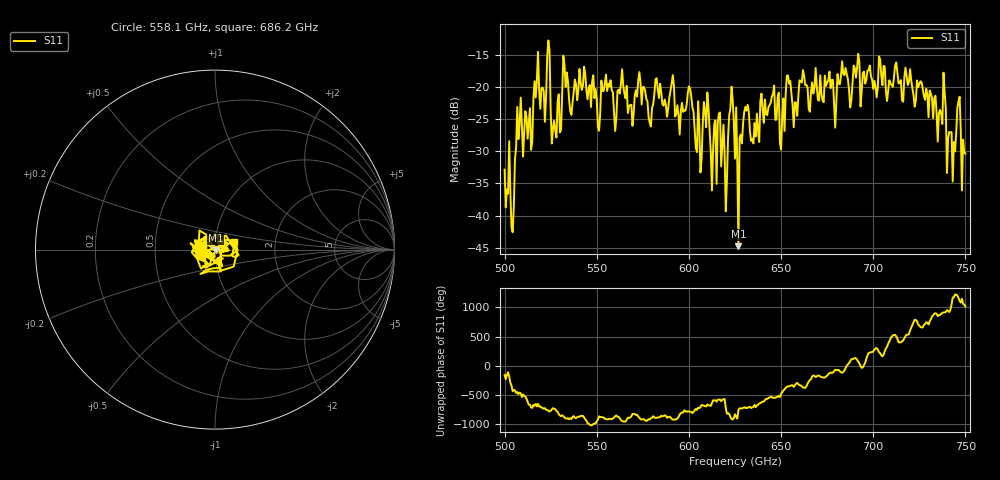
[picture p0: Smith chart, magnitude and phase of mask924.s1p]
!Created with skrf (http://scikit-rf.org).
# GHz S MA R 50.0
!freq magS11 angS11
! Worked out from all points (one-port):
!   401 points, 500 GHz to 750 GHz, reference 50 ohm
!   lowest |S11| = -44.8 dB at 626.9 GHz (marker M1), VSWR 1.01, Z = 50.5 - j0.351 ohm
!   |S11| at or under -10 dB: start of sweep to end of sweep
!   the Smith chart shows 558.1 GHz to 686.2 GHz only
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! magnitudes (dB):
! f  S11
! 500 GHz  -32.9
! 504.4 GHz  -42.6
! 507.5 GHz  -28.1
! 513.8 GHz  -23.3
! 516.9 GHz  -21.6
! 523.8 GHz  -12.8
! 526.9 GHz  -25.2
! 531.2 GHz  -20.9
! 562.5 GHz  -21.0
! 579.4 GHz  -26.1
! 590.6 GHz  -19.5
! 593.8 GHz  -22.8
! 600.6 GHz  -20.2
! 605.6 GHz  -26.0
! 609.4 GHz  -26.3
! 619.4 GHz  -30.5
! 622.5 GHz  -23.4
! 625 GHz  -31.1
! 626.9 GHz  -44.8
! 631.2 GHz  -23.7
! 635 GHz  -28.8
! 656.2 GHz  -22.8
! 687.5 GHz  -23.2
! 718.8 GHz  -19.7
! 738.1 GHz  -17.8
! 743.1 GHz  -34.7
! 746.2 GHz  -22.3
! 750 GHz  -30.3
